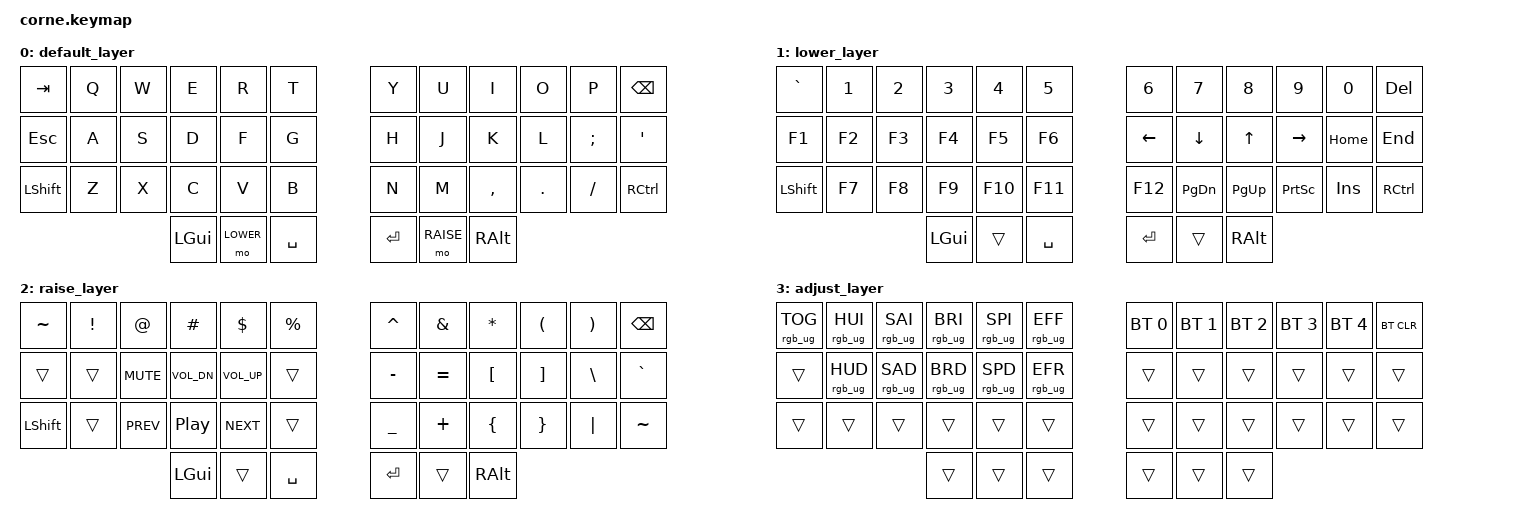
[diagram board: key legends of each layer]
/*
 * Corne v3.0.1 - nice!nano v2
 *
 * Layer 0: Default (QWERTY)
 * Layer 1: Lower  (Numbers, Navigation, F-keys)
 * Layer 2: Raise  (Symbols, Media)
 * Layer 3: Adjust (RGB, Bluetooth) - activated by holding Lower+Raise together
 */

#include <behaviors.dtsi>
#include <dt-bindings/zmk/keys.h>
#include <dt-bindings/zmk/bt.h>
#include <dt-bindings/zmk/rgb.h>

#define DEFAULT 0
#define LOWER   1
#define RAISE   2
#define ADJUST  3

/ {
    conditional_layers {
        compatible = "zmk,conditional-layers";
        adjust_layer {
            if-layers = <LOWER RAISE>;
            then-layer = <ADJUST>;
        };
    };

    keymap {
        compatible = "zmk,keymap";

        default_layer {
            // ┌─────┬─────┬─────┬─────┬─────┬─────┐   ┌─────┬─────┬─────┬─────┬─────┬─────┐
            // │ TAB │  Q  │  W  │  E  │  R  │  T  │   │  Y  │  U  │  I  │  O  │  P  │BKSP │
            // │ ESC │  A  │  S  │  D  │  F  │  G  │   │  H  │  J  │  K  │  L  │  ;  │  '  │
            // │SHIFT│  Z  │  X  │  C  │  V  │  B  │   │  N  │  M  │  ,  │  .  │  /  │CTRL │
            // └─────┴─────┴──┬──┴──┬──┴──┬──┴─────┘   └─────┴──┬──┴──┬──┴──┬──┴─────┴─────┘
            //                │ GUI │LOWER│ SPACE│       │ENTER│RAISE│ ALT │
            //                └─────┴─────┴──────┘       └─────┴─────┴─────┘
            bindings = <
                &kp TAB   &kp Q &kp W &kp E &kp R &kp T     &kp Y &kp U  &kp I     &kp O   &kp P    &kp BSPC
                &kp ESC   &kp A &kp S &kp D &kp F &kp G     &kp H &kp J  &kp K     &kp L   &kp SEMI &kp SQT
                &kp LSHFT &kp Z &kp X &kp C &kp V &kp B     &kp N &kp M  &kp COMMA &kp DOT &kp FSLH &kp RCTRL
                                &kp LGUI &mo LOWER &kp SPACE &kp RET &mo RAISE &kp RALT
            >;
        };

        lower_layer {
            // ┌─────┬─────┬─────┬─────┬─────┬─────┐   ┌─────┬─────┬─────┬─────┬─────┬─────┐
            // │  `  │  1  │  2  │  3  │  4  │  5  │   │  6  │  7  │  8  │  9  │  0  │ DEL │
            // │ F1  │ F2  │ F3  │ F4  │ F5  │ F6  │   │LEFT │DOWN │ UP  │RIGHT│HOME │ END │
            // │SHIFT│ F7  │ F8  │ F9  │ F10 │ F11 │   │ F12 │PGDN │PGUP │PSCR │ INS │CTRL │
            // └─────┴─────┴──┬──┴──┬──┴──┬──┴─────┘   └─────┴──┬──┴──┬──┴──┬──┴─────┴─────┘
            //                │ GUI │     │ SPACE│       │ENTER│     │ ALT │
            //                └─────┴─────┴──────┘       └─────┴─────┴─────┘
            bindings = <
                &kp GRAVE &kp N1 &kp N2 &kp N3   &kp N4  &kp N5      &kp N6   &kp N7    &kp N8    &kp N9    &kp N0   &kp DEL
                &kp F1    &kp F2 &kp F3 &kp F4   &kp F5  &kp F6      &kp LEFT &kp DOWN  &kp UP    &kp RIGHT &kp HOME &kp END
                &kp LSHFT &kp F7 &kp F8 &kp F9   &kp F10 &kp F11     &kp F12  &kp PG_DN &kp PG_UP &kp PSCRN &kp INS  &kp RCTRL
                                        &kp LGUI &trans  &kp SPACE    &kp RET  &trans    &kp RALT
            >;
        };

        raise_layer {
            // ┌─────┬─────┬─────┬─────┬─────┬─────┐   ┌─────┬─────┬─────┬─────┬─────┬─────┐
            // │  ~  │  !  │  @  │  #  │  $  │  %  │   │  ^  │  &  │  *  │  (  │  )  │BKSP │
            // │     │     │MUTE │VOL- │VOL+ │     │   │  -  │  =  │  [  │  ]  │  \  │  `  │
            // │SHIFT│     │PREV │PLAY │NEXT │     │   │  _  │  +  │  {  │  }  │  |  │  ~  │
            // └─────┴─────┴──┬──┴──┬──┴──┬──┴─────┘   └─────┴──┬──┴──┬──┴──┬──┴─────┴─────┘
            //                │ GUI │     │ SPACE│       │ENTER│     │ ALT │
            //                └─────┴─────┴──────┘       └─────┴─────┴─────┘
            bindings = <
                &kp TILDE &kp EXCL &kp AT     &kp HASH   &kp DLLR    &kp PRCNT    &kp CARET &kp AMPS  &kp ASTRK &kp LPAR &kp RPAR &kp BSPC
                &trans    &trans   &kp C_MUTE &kp C_VOL_DN &kp C_VOL_UP &trans     &kp MINUS &kp EQUAL &kp LBKT  &kp RBKT &kp BSLH &kp GRAVE
                &kp LSHFT &trans   &kp C_PREV &kp C_PP   &kp C_NEXT  &trans       &kp UNDER &kp PLUS  &kp LBRC  &kp RBRC &kp PIPE &kp TILDE
                                              &kp LGUI   &trans      &kp SPACE    &kp RET   &trans    &kp RALT
            >;
        };

        adjust_layer {
            // Activated by holding LOWER + RAISE together
            // ┌─────┬─────┬─────┬─────┬─────┬─────┐   ┌─────┬─────┬─────┬─────┬─────┬─────┐
            // │R_TOG│R_HUI│R_SAI│R_BRI│R_SPI│R_EFF│   │ BT1 │ BT2 │ BT3 │ BT4 │ BT5 │BTCLR│
            // │     │R_HUD│R_SAD│R_BRD│R_SPD│R_EFR│   │     │     │     │     │     │     │
            // │     │     │     │     │     │     │   │     │     │     │     │     │     │
            // └─────┴─────┴──┬──┴──┬──┴──┬──┴─────┘   └─────┴──┬──┴──┬──┴──┬──┴─────┴─────┘
            //                │     │     │      │       │     │     │     │
            //                └─────┴─────┴──────┘       └─────┴─────┴─────┘
            bindings = <
                &rgb_ug RGB_TOG &rgb_ug RGB_HUI &rgb_ug RGB_SAI &rgb_ug RGB_BRI &rgb_ug RGB_SPI &rgb_ug RGB_EFF    &bt BT_SEL 0 &bt BT_SEL 1 &bt BT_SEL 2 &bt BT_SEL 3 &bt BT_SEL 4 &bt BT_CLR
                &trans          &rgb_ug RGB_HUD &rgb_ug RGB_SAD &rgb_ug RGB_BRD &rgb_ug RGB_SPD &rgb_ug RGB_EFR    &trans       &trans       &trans       &trans       &trans       &trans
                &trans          &trans          &trans          &trans          &trans          &trans              &trans       &trans       &trans       &trans       &trans       &trans
                                                                &trans          &trans          &trans              &trans       &trans       &trans
            >;
        };
    };
};
